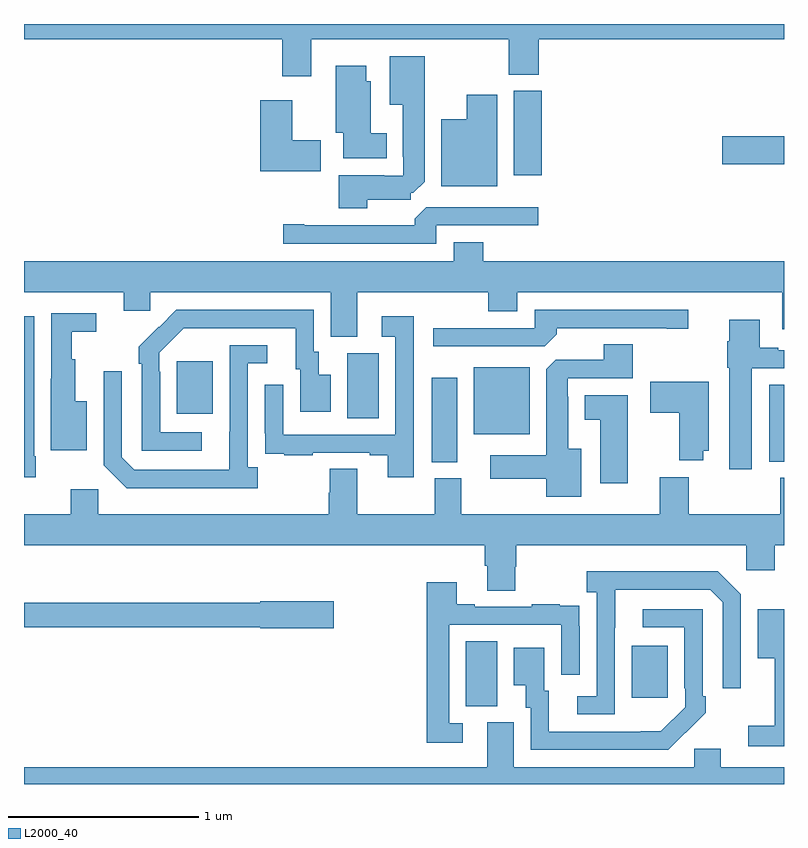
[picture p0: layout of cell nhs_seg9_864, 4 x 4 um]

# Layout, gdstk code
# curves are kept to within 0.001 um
import gdstk
lib = gdstk.Library(unit=1e-6, precision=1e-09)
def R(c, l, rs):  # rectangles x0, y0, x1, y1
    for r in rs: c.add(gdstk.rectangle(r[:2], r[2:], *l))
def P(c, l, *ps):  # polygons
    for p in ps: c.add(gdstk.Polygon(p, *l))
L2000_40 = (2000, 40)

nhs_seg9_864 = lib.new_cell('nhs_seg9_864')
R(nhs_seg9_864, L2000_40, [(159.326,1192.909,159.49,1193.252), (160.199,1192.953,160.387,1193.227), (159.146,1194.193,159.28,1194.637), (160.922,1194.197,161,1194.602), (159.368,1194.341,159.661,1194.694), (158.702,1194.424,158.866,1194.768), (157.805,1194.449,157.993,1194.724), (159.578,1195.704,159.725,1196.148), (160.674,1195.763,161,1195.91)])
P(nhs_seg9_864, L2000_40, [(158.512,1196.42),(159.55,1196.42),(159.55,1196.233),(159.71,1196.233),(159.71,1196.42),(161,1196.42),(161,1196.5),(157,1196.5),(157,1196.42),(158.36,1196.42),(158.36,1196.226),(158.512,1196.226)],
  [(158.806,1195.575),(159.036,1195.575),(159.036,1195.611),(159.049,1195.611),(159.109,1195.671),(159.109,1196.329),(158.924,1196.329),(158.924,1196.075),(158.993,1196.075),(158.993,1195.801),(158.997,1195.801),(158.997,1195.701),(158.897,1195.701),(158.897,1195.705),(158.657,1195.705),(158.657,1195.529),(158.806,1195.529)],
  [(158.908,1195.924),(158.824,1195.924),(158.824,1196.199),(158.8,1196.199),(158.8,1196.281),(158.642,1196.281),(158.642,1195.928),(158.681,1195.928),(158.681,1195.793),(158.908,1195.793)],
  [(159.49,1196.128),(159.329,1196.128),(159.329,1195.999),(159.197,1195.999),(159.197,1195.646),(159.49,1195.646)],
  [(158.563,1195.887),(158.413,1195.887),(158.413,1196.098),(158.243,1196.098),(158.243,1195.724),(158.563,1195.724)],
  [(159.171,1195.44),(159.706,1195.44),(159.706,1195.536),(159.117,1195.536),(159.056,1195.474),(159.056,1195.44),(158.476,1195.44),(158.476,1195.445),(158.364,1195.445),(158.364,1195.344),(159.171,1195.344)],
  [(158.755,1195.088),(159.443,1195.088),(159.443,1194.989),(159.595,1194.989),(159.595,1195.088),(160.991,1195.088),(160.991,1194.894),(161,1194.894),(161,1195.252),(159.416,1195.252),(159.416,1195.351),(159.263,1195.351),(159.263,1195.252),(157,1195.252),(157,1195.088),(157.526,1195.088),(157.526,1194.99),(157.665,1194.99),(157.665,1195.088),(158.615,1195.088),(158.615,1194.853),(158.755,1194.853)],
  [(157.936,1194.351),(157.716,1194.351),(157.716,1194.671),(157.713,1194.671),(157.713,1194.771),(157.842,1194.9),(158.429,1194.9),(158.429,1194.684),(158.453,1194.684),(158.453,1194.459),(158.614,1194.459),(158.614,1194.655),(158.551,1194.655),(158.551,1194.774),(158.526,1194.774),(158.526,1194.996),(157.802,1194.996),(157.605,1194.801),(157.605,1194.713),(157.62,1194.713),(157.62,1194.255),(157.936,1194.255)],
  [(159.803,1194.866),(159.803,1194.9),(160.382,1194.9),(160.382,1194.895),(160.495,1194.895),(160.495,1194.996),(159.687,1194.996),(159.687,1194.9),(159.153,1194.9),(159.153,1194.804),(159.741,1194.804)],
  [(157.33,1194.514),(157.27,1194.514),(157.27,1194.736),(157.252,1194.736),(157.252,1194.881),(157.381,1194.881),(157.381,1194.978),(157.143,1194.978),(157.143,1194.632),(157.142,1194.632),(157.142,1194.257),(157.33,1194.257)],
  [(157.062,1194.226),(157.053,1194.226),(157.053,1194.961),(157,1194.961),(157,1194.114),(157.062,1194.114)],
  [(159.051,1194.961),(158.883,1194.961),(158.883,1194.855),(158.955,1194.855),(158.955,1194.339),(158.364,1194.339),(158.364,1194.601),(158.268,1194.601),(158.268,1194.346),(158.269,1194.346),(158.269,1194.237),(158.371,1194.237),(158.371,1194.231),(158.519,1194.231),(158.519,1194.243),(158.819,1194.243),(158.819,1194.231),(158.915,1194.231),(158.915,1194.114),(159.051,1194.114)],
  [(160.831,1194.687),(161,1194.687),(161,1194.783),(160.969,1194.783),(160.969,1194.796),(160.873,1194.796),(160.873,1194.943),(160.712,1194.943),(160.712,1194.83),(160.7,1194.83),(160.7,1194.69),(160.712,1194.69),(160.712,1194.156),(160.831,1194.156)],
  [(159.934,1194.265),(159.865,1194.265),(159.865,1194.539),(159.861,1194.539),(159.861,1194.636),(160.205,1194.636),(160.205,1194.815),(160.052,1194.815),(160.052,1194.732),(159.798,1194.732),(159.749,1194.683),(159.749,1194.229),(159.453,1194.229),(159.453,1194.107),(159.749,1194.107),(159.749,1194.011),(159.934,1194.011)],
  [(158.23,1194.166),(158.178,1194.166),(158.178,1194.714),(158.281,1194.714),(158.281,1194.81),(158.082,1194.81),(158.081,1194.153),(157.581,1194.153),(157.515,1194.219),(157.515,1194.673),(157.419,1194.673),(157.419,1194.177),(157.54,1194.056),(158.23,1194.056)],
  [(160.576,1194.255),(160.603,1194.255),(160.603,1194.616),(160.296,1194.616),(160.296,1194.454),(160.448,1194.454),(160.448,1194.203),(160.576,1194.203)],
  [(160.177,1194.547),(159.95,1194.547),(159.95,1194.416),(160.034,1194.416),(160.034,1194.084),(160.177,1194.084)],
  [(159.161,1194.108),(159.161,1193.92),(158.755,1193.92),(158.755,1194.158),(158.608,1194.158),(158.608,1194.033),(158.603,1194.033),(158.603,1193.92),(157.392,1193.92),(157.392,1194.052),(157.246,1194.052),(157.246,1193.92),(157,1193.92),(157,1193.756),(159.425,1193.756),(159.425,1193.65),(159.437,1193.65),(159.437,1193.518),(159.585,1193.518),(159.585,1193.643),(159.59,1193.643),(159.59,1193.756),(160.8,1193.756),(160.8,1193.625),(160.952,1193.625),(160.952,1193.756),(161,1193.756),(161,1194.112),(160.979,1194.112),(160.979,1193.92),(160.499,1193.92),(160.499,1194.115),(160.346,1194.115),(160.346,1193.92),(159.301,1193.92),(159.301,1194.108)],
  [(160.11,1193.323),(160.111,1193.523),(160.611,1193.523),(160.677,1193.457),(160.677,1193.004),(160.773,1193.004),(160.773,1193.499),(160.652,1193.62),(159.963,1193.62),(159.963,1193.51),(160.014,1193.51),(160.014,1192.962),(159.912,1192.962),(159.912,1192.866),(160.11,1192.866)],
  [(159.31,1192.821),(159.237,1192.821),(159.237,1193.337),(159.828,1193.337),(159.828,1193.076),(159.924,1193.076),(159.924,1193.33),(159.923,1193.33),(159.923,1193.439),(159.821,1193.439),(159.821,1193.446),(159.673,1193.446),(159.673,1193.433),(159.373,1193.433),(159.373,1193.446),(159.277,1193.446),(159.277,1193.563),(159.121,1193.563),(159.121,1192.716),(159.31,1192.716)],
  [(158.629,1193.463),(158.244,1193.463),(158.244,1193.455),(157,1193.455),(157,1193.326),(158.244,1193.326),(158.244,1193.321),(158.629,1193.321)],
  [(160.481,1192.771),(160.482,1192.77),(160.587,1192.875),(160.587,1192.963),(160.572,1192.963),(160.572,1193.421),(160.257,1193.421),(160.257,1193.325),(160.476,1193.325),(160.476,1193.005),(160.479,1193.005),(160.479,1192.905),(160.351,1192.777),(159.763,1192.776),(159.763,1192.992),(159.739,1192.992),(159.739,1193.218),(159.578,1193.218),(159.578,1193.021),(159.641,1193.021),(159.641,1192.902),(159.666,1192.902),(159.666,1192.68),(160.39,1192.68)],
  [(161,1193.419),(160.862,1193.419),(160.862,1193.162),(160.952,1193.162),(160.952,1192.807),(160.812,1192.807),(160.812,1192.698),(161,1192.698)],
  [(161,1192.588),(160.666,1192.588),(160.666,1192.686),(160.527,1192.686),(160.527,1192.588),(159.577,1192.588),(159.577,1192.824),(159.437,1192.824),(159.437,1192.588),(157,1192.588),(157,1192.5),(161,1192.5)])

lib.write_gds('nhs_seg9_864.gds')
